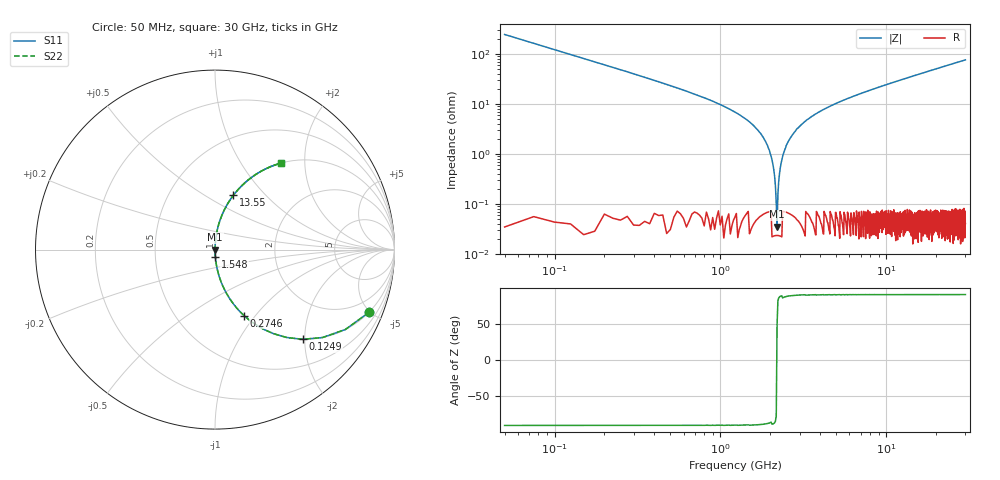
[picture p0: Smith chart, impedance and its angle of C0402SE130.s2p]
!	AVX Thin Film Operation 	Date: April 2014
!	Description: Accu-P® Series, Thin Film  SMD RF Capacitor
!	Part Number: 04023K130FBSTR
# MHZ S MA R 50
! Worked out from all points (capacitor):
!   1201 points, 50 MHz to 30 GHz, reference 50 ohm
!   read as one part in series: C = 13 pF near 199.8 MHz
!   lowest |Z| = 35.2 mohm at 2.196 GHz (marker M1)
!   series resonance near 2.191 GHz, so ESL is about 410 pH
!   S11 on the Smith chart (normalised r, x): 50 MHz: 1.00, -4.90; 124.9 MHz: 1.00, -1.96; 274.6 MHz: 1.00, -0.88; 1.548 GHz: 1.00, -0.08; 13.55 GHz: 1.00, +0.67; 30 GHz: 1.00, +1.52
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50  0.926 -22.2  0.378 67.8  0.378 67.8  0.926 -22.2
124.875  0.699 -45.6  0.715 44.3  0.715 44.3  0.699 -45.6
274.625  0.402 -66.3  0.915 23.7  0.915 23.7  0.402 -66.3
574.125  0.195 -78.6  0.98 11.2  0.98 11.2  0.195 -78.6
1547.5  0.04 -87.1  0.999 2.3  0.999 2.3  0.04 -87.1
1871.958  0.018 -87.5  0.999 1.0  0.999 1.0  0.018 -87.5
1971.792  0.012 -87.0  0.999 0.7  0.999 0.7  0.012 -87.0
2096.583  0.004957 -84.3  1 0.3  1 0.3  0.004957 -84.3
2196.417  0.0005383 29.2  1 -0.0  1 -0.0  0.0005383 29.2
2296.25  0.00525 84.6  1 -0.3  1 -0.3  0.00525 84.6
2396.083  0.01 86.7  0.999 -0.6  0.999 -0.6  0.01 86.7
2520.875  0.016 87.4  0.999 -0.9  0.999 -0.9  0.016 87.4
2970.125  0.034 87.2  0.999 -2.0  0.999 -2.0  0.034 87.2
3768.792  0.063 85.9  0.998 -3.6  0.998 -3.6  0.063 85.9
5041.667  0.104 83.8  0.994 -6.0  0.994 -6.0  0.104 83.8
7138.167  0.163 80.5  0.986 -9.4  0.986 -9.4  0.163 80.5
10058.29  0.237 76.2  0.971 -13.7  0.971 -13.7  0.237 76.2
13552.46  0.319 71.3  0.947 -18.6  0.947 -18.6  0.319 71.3
15025  0.351 69.4  0.936 -20.5  0.936 -20.5  0.351 69.4
20016.67  0.45 63.2  0.893 -26.7  0.893 -26.7  0.45 63.2
25033.29  0.535 57.6  0.845 -32.3  0.845 -32.3  0.535 57.6
30000  0.605 52.7  0.796 -37.3  0.796 -37.3  0.605 52.7
